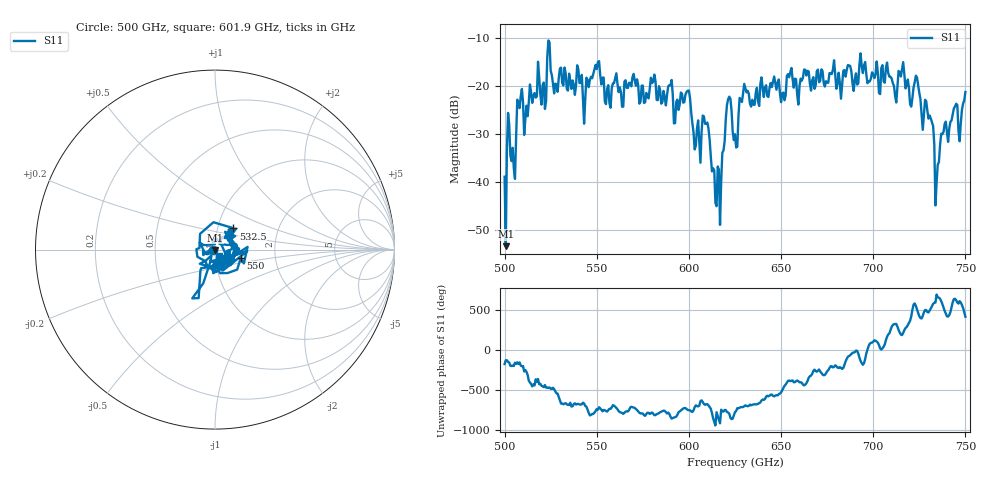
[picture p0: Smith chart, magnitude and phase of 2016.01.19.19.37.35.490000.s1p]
!Created with skrf (http://scikit-rf.org).
# GHz S RI R 50.0
!freq ReS11 ImS11
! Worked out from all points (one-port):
!   401 points, 500 GHz to 750 GHz, reference 50 ohm
!   lowest |S11| = -53.5 dB at 500.6 GHz (marker M1), VSWR 1.00, Z = 49.9 - j0.162 ohm
!   |S11| at or under -10 dB: start of sweep to end of sweep
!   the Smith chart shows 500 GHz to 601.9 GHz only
!   S11 on the Smith chart (normalised r, x): 500 GHz: 0.98, -0.00; 532.5 GHz: 1.19, +0.29; 550 GHz: 1.33, -0.13; 601.9 GHz: 1.05, -0.07
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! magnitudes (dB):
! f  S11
! 500 GHz  -39.0
! 500.6 GHz  -53.5
! 502.5 GHz  -28.1
! 505 GHz  -37.2
! 508.1 GHz  -24.6
! 521.2 GHz  -19.3
! 524.4 GHz  -10.9
! 527.5 GHz  -19.5
! 531.2 GHz  -19.4
! 532.5 GHz  -16.1
! 543.8 GHz  -22.7
! 550 GHz  -16.4
! 562.5 GHz  -20.3
! 593.8 GHz  -22.8
! 599.4 GHz  -21.0
! 601.9 GHz  -27.8
! 609.4 GHz  -27.9
! 615.6 GHz  -36.8
! 621.2 GHz  -22.8
! 625 GHz  -30.1
! 630.6 GHz  -20.5
! 656.2 GHz  -18.5
! 687.5 GHz  -15.8
! 718.8 GHz  -18.6
! 729.4 GHz  -25.2
! 735 GHz  -36.4
! 738.1 GHz  -29.6
! 750 GHz  -21.2
